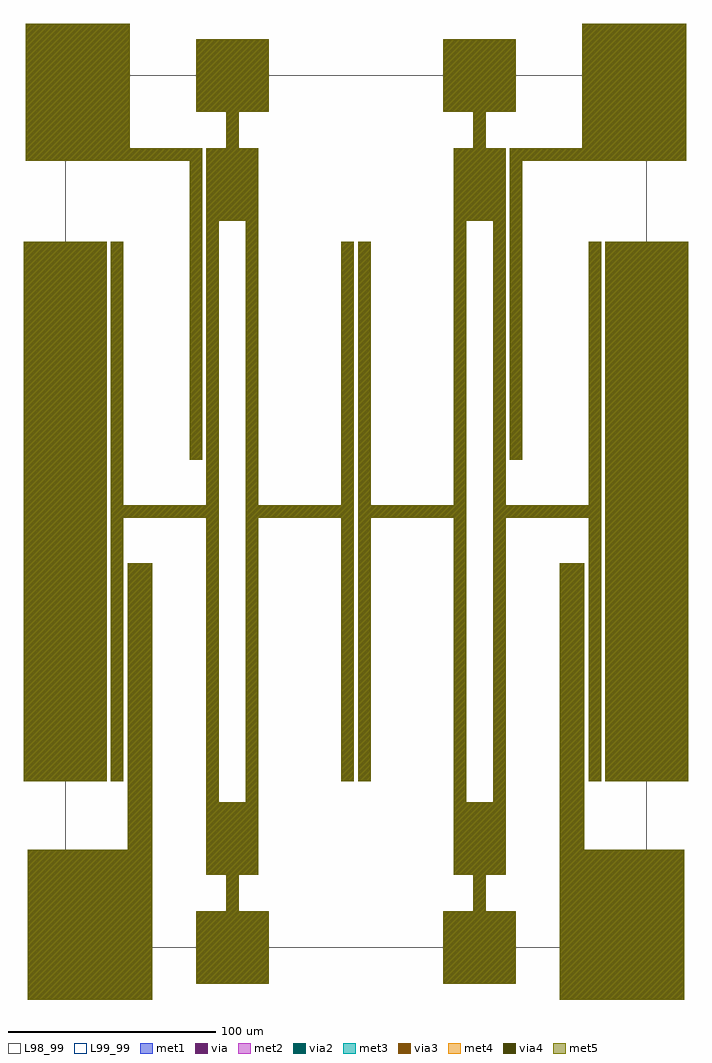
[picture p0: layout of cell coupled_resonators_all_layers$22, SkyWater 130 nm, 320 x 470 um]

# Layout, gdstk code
from math import pi, radians
import gdstk
lib = gdstk.Library(unit=1e-6, precision=1e-09)
def R(c, l, rs):  # rectangles x0, y0, x1, y1
    for r in rs: c.add(gdstk.rectangle(r[:2], r[2:], *l))
def P(c, l, *ps):  # polygons
    for p in ps: c.add(gdstk.Polygon(p, *l))
met1 = (68, 20)
via = (68, 44)
met2 = (69, 20)
via2 = (69, 44)
met3 = (70, 20)
via3 = (70, 44)
met4 = (71, 20)
via4 = (71, 44)
met5 = (72, 20)
L98_99 = (98, 99)
L99_99 = (99, 99)

detf_193 = lib.new_cell('detf$193')
P(detf_193, met1, [(12.5,175),(-12.5,175),(-12.5,-169),(-6.5,-169),(-6.5,169),(6.5,169),(6.5,-169),(-6.5,-169),(-12.5,-169),(-12.5,-175),(12.5,-175)],
  [(-12.5,-175),(12.5,-175),(12.5,-140),(-12.5,-140),(-12.5,-175)],
  [(-12.5,175),(12.5,175),(12.5,140),(-12.5,140),(-12.5,175)],
  [(-3,-175),(3,-175),(3,-192.5),(-3,-192.5),(-3,-175)],
  [(-3,175),(3,175),(3,192.5),(-3,192.5),(-3,175)],
  [(-17.5,-192.5),(17.5,-192.5),(17.5,-227.5),(-17.5,-227.5),(-17.5,-192.5)],
  [(-17.5,192.5),(17.5,192.5),(17.5,227.5),(-17.5,227.5),(-17.5,192.5)],
  [(-12.5,-3),(-12.5,3),(-52.5,3),(-52.5,-3),(-12.5,-3)],
  [(12.5,-3),(12.5,3),(52.5,3),(52.5,-3),(12.5,-3)],
  [(-52.5,-130),(-52.5,130),(-58.5,130),(-58.5,-130),(-52.5,-130)],
  [(52.5,-130),(52.5,130),(58.5,130),(58.5,-130),(52.5,-130)])

drive_electrode_286 = lib.new_cell('drive_electrode$286')
P(drive_electrode_286, met1, [(-20,-130),(-20,130),(20,130),(20,-130),(-20,-130)])

inner_electrode_479 = lib.new_cell('inner_electrode$479')
P(inner_electrode_479, met1, [(0,0),(6,0),(6,150),(0,150),(0,0)],
  [(0,150),(85,150),(85,144),(0,144),(0,150)],
  [(85,150),(35,150),(35,210),(85,210),(85,150)])

none_mirror_deaf291f = lib.new_cell('None_mirror_deaf291f')
none_mirror_deaf291f.add(gdstk.Reference(inner_electrode_479, (0,0), rotation=pi, x_reflection=True))

inner_electrode_478 = lib.new_cell('inner_electrode$478')
P(inner_electrode_478, met1, [(0,0),(12,0),(12,150),(0,150),(0,0)],
  [(0,150),(60,150),(60,138),(0,138),(0,150)],
  [(60,150),(0,150),(0,210),(60,210),(60,150)])

two_way_coupled_resonato = lib.new_cell('two_way_coupled_resonator$294')
two_way_coupled_resonato.add(gdstk.Reference(detf_193, (-59.5,0)))
two_way_coupled_resonato.add(gdstk.Reference(detf_193, (59.5,0)))
two_way_coupled_resonato.add(gdstk.Reference(drive_electrode_286, (-140,0)))
two_way_coupled_resonato.add(gdstk.Reference(drive_electrode_286, (140,0)))
two_way_coupled_resonato.add(gdstk.Reference(inner_electrode_479, (74,25)))
two_way_coupled_resonato.add(gdstk.Reference(none_mirror_deaf291f, (-74,25)))
two_way_coupled_resonato.add(gdstk.Reference(inner_electrode_478, (98,-25), x_reflection=True))
two_way_coupled_resonato.add(gdstk.Reference(inner_electrode_478, (-98,-25), rotation=pi))

detf_194 = lib.new_cell('detf$194')
P(detf_194, via, [(12.5,175),(-12.5,175),(-12.5,-169),(-6.5,-169),(-6.5,169),(6.5,169),(6.5,-169),(-6.5,-169),(-12.5,-169),(-12.5,-175),(12.5,-175)],
  [(-12.5,-175),(12.5,-175),(12.5,-140),(-12.5,-140),(-12.5,-175)],
  [(-12.5,175),(12.5,175),(12.5,140),(-12.5,140),(-12.5,175)],
  [(-3,-175),(3,-175),(3,-192.5),(-3,-192.5),(-3,-175)],
  [(-3,175),(3,175),(3,192.5),(-3,192.5),(-3,175)],
  [(-17.5,-192.5),(17.5,-192.5),(17.5,-227.5),(-17.5,-227.5),(-17.5,-192.5)],
  [(-17.5,192.5),(17.5,192.5),(17.5,227.5),(-17.5,227.5),(-17.5,192.5)],
  [(-12.5,-3),(-12.5,3),(-52.5,3),(-52.5,-3),(-12.5,-3)],
  [(12.5,-3),(12.5,3),(52.5,3),(52.5,-3),(12.5,-3)],
  [(-52.5,-130),(-52.5,130),(-58.5,130),(-58.5,-130),(-52.5,-130)],
  [(52.5,-130),(52.5,130),(58.5,130),(58.5,-130),(52.5,-130)])

drive_electrode_287 = lib.new_cell('drive_electrode$287')
P(drive_electrode_287, via, [(-20,-130),(-20,130),(20,130),(20,-130),(-20,-130)])

inner_electrode_481 = lib.new_cell('inner_electrode$481')
P(inner_electrode_481, via, [(0,0),(6,0),(6,150),(0,150),(0,0)],
  [(0,150),(85,150),(85,144),(0,144),(0,150)],
  [(85,150),(35,150),(35,210),(85,210),(85,150)])

none_mirror_8a6fded3 = lib.new_cell('None_mirror_8a6fded3')
none_mirror_8a6fded3.add(gdstk.Reference(inner_electrode_481, (0,0), rotation=pi, x_reflection=True))

inner_electrode_480 = lib.new_cell('inner_electrode$480')
P(inner_electrode_480, via, [(0,0),(12,0),(12,150),(0,150),(0,0)],
  [(0,150),(60,150),(60,138),(0,138),(0,150)],
  [(60,150),(0,150),(0,210),(60,210),(60,150)])

c_two_way_coupled_resonato = lib.new_cell('two_way_coupled_resonator$295')
c_two_way_coupled_resonato.add(gdstk.Reference(detf_194, (-59.5,0)))
c_two_way_coupled_resonato.add(gdstk.Reference(detf_194, (59.5,0)))
c_two_way_coupled_resonato.add(gdstk.Reference(drive_electrode_287, (-140,0)))
c_two_way_coupled_resonato.add(gdstk.Reference(drive_electrode_287, (140,0)))
c_two_way_coupled_resonato.add(gdstk.Reference(inner_electrode_481, (74,25)))
c_two_way_coupled_resonato.add(gdstk.Reference(none_mirror_8a6fded3, (-74,25)))
c_two_way_coupled_resonato.add(gdstk.Reference(inner_electrode_480, (98,-25), x_reflection=True))
c_two_way_coupled_resonato.add(gdstk.Reference(inner_electrode_480, (-98,-25), rotation=pi))

detf_195 = lib.new_cell('detf$195')
P(detf_195, met2, [(12.5,175),(-12.5,175),(-12.5,-169),(-6.5,-169),(-6.5,169),(6.5,169),(6.5,-169),(-6.5,-169),(-12.5,-169),(-12.5,-175),(12.5,-175)],
  [(-12.5,-175),(12.5,-175),(12.5,-140),(-12.5,-140),(-12.5,-175)],
  [(-12.5,175),(12.5,175),(12.5,140),(-12.5,140),(-12.5,175)],
  [(-3,-175),(3,-175),(3,-192.5),(-3,-192.5),(-3,-175)],
  [(-3,175),(3,175),(3,192.5),(-3,192.5),(-3,175)],
  [(-17.5,-192.5),(17.5,-192.5),(17.5,-227.5),(-17.5,-227.5),(-17.5,-192.5)],
  [(-17.5,192.5),(17.5,192.5),(17.5,227.5),(-17.5,227.5),(-17.5,192.5)],
  [(-12.5,-3),(-12.5,3),(-52.5,3),(-52.5,-3),(-12.5,-3)],
  [(12.5,-3),(12.5,3),(52.5,3),(52.5,-3),(12.5,-3)],
  [(-52.5,-130),(-52.5,130),(-58.5,130),(-58.5,-130),(-52.5,-130)],
  [(52.5,-130),(52.5,130),(58.5,130),(58.5,-130),(52.5,-130)])

drive_electrode_288 = lib.new_cell('drive_electrode$288')
P(drive_electrode_288, met2, [(-20,-130),(-20,130),(20,130),(20,-130),(-20,-130)])

inner_electrode_483 = lib.new_cell('inner_electrode$483')
P(inner_electrode_483, met2, [(0,0),(6,0),(6,150),(0,150),(0,0)],
  [(0,150),(85,150),(85,144),(0,144),(0,150)],
  [(85,150),(35,150),(35,210),(85,210),(85,150)])

none_mirror_c3d8c411 = lib.new_cell('None_mirror_c3d8c411')
none_mirror_c3d8c411.add(gdstk.Reference(inner_electrode_483, (0,0), rotation=pi, x_reflection=True))

inner_electrode_482 = lib.new_cell('inner_electrode$482')
P(inner_electrode_482, met2, [(0,0),(12,0),(12,150),(0,150),(0,0)],
  [(0,150),(60,150),(60,138),(0,138),(0,150)],
  [(60,150),(0,150),(0,210),(60,210),(60,150)])

c_two_way_coupled_resonato_ = lib.new_cell('two_way_coupled_resonator$296')
c_two_way_coupled_resonato_.add(gdstk.Reference(detf_195, (-59.5,0)))
c_two_way_coupled_resonato_.add(gdstk.Reference(detf_195, (59.5,0)))
c_two_way_coupled_resonato_.add(gdstk.Reference(drive_electrode_288, (-140,0)))
c_two_way_coupled_resonato_.add(gdstk.Reference(drive_electrode_288, (140,0)))
c_two_way_coupled_resonato_.add(gdstk.Reference(inner_electrode_483, (74,25)))
c_two_way_coupled_resonato_.add(gdstk.Reference(none_mirror_c3d8c411, (-74,25)))
c_two_way_coupled_resonato_.add(gdstk.Reference(inner_electrode_482, (98,-25), x_reflection=True))
c_two_way_coupled_resonato_.add(gdstk.Reference(inner_electrode_482, (-98,-25), rotation=pi))

detf_196 = lib.new_cell('detf$196')
P(detf_196, via2, [(12.5,175),(-12.5,175),(-12.5,-169),(-6.5,-169),(-6.5,169),(6.5,169),(6.5,-169),(-6.5,-169),(-12.5,-169),(-12.5,-175),(12.5,-175)],
  [(-12.5,-175),(12.5,-175),(12.5,-140),(-12.5,-140),(-12.5,-175)],
  [(-12.5,175),(12.5,175),(12.5,140),(-12.5,140),(-12.5,175)],
  [(-3,-175),(3,-175),(3,-192.5),(-3,-192.5),(-3,-175)],
  [(-3,175),(3,175),(3,192.5),(-3,192.5),(-3,175)],
  [(-17.5,-192.5),(17.5,-192.5),(17.5,-227.5),(-17.5,-227.5),(-17.5,-192.5)],
  [(-17.5,192.5),(17.5,192.5),(17.5,227.5),(-17.5,227.5),(-17.5,192.5)],
  [(-12.5,-3),(-12.5,3),(-52.5,3),(-52.5,-3),(-12.5,-3)],
  [(12.5,-3),(12.5,3),(52.5,3),(52.5,-3),(12.5,-3)],
  [(-52.5,-130),(-52.5,130),(-58.5,130),(-58.5,-130),(-52.5,-130)],
  [(52.5,-130),(52.5,130),(58.5,130),(58.5,-130),(52.5,-130)])

drive_electrode_289 = lib.new_cell('drive_electrode$289')
P(drive_electrode_289, via2, [(-20,-130),(-20,130),(20,130),(20,-130),(-20,-130)])

inner_electrode_485 = lib.new_cell('inner_electrode$485')
P(inner_electrode_485, via2, [(0,0),(6,0),(6,150),(0,150),(0,0)],
  [(0,150),(85,150),(85,144),(0,144),(0,150)],
  [(85,150),(35,150),(35,210),(85,210),(85,150)])

none_mirror_177a07fa = lib.new_cell('None_mirror_177a07fa')
none_mirror_177a07fa.add(gdstk.Reference(inner_electrode_485, (0,0), rotation=pi, x_reflection=True))

inner_electrode_484 = lib.new_cell('inner_electrode$484')
P(inner_electrode_484, via2, [(0,0),(12,0),(12,150),(0,150),(0,0)],
  [(0,150),(60,150),(60,138),(0,138),(0,150)],
  [(60,150),(0,150),(0,210),(60,210),(60,150)])

c_two_way_coupled_resonato__ = lib.new_cell('two_way_coupled_resonator$297')
c_two_way_coupled_resonato__.add(gdstk.Reference(detf_196, (-59.5,0)))
c_two_way_coupled_resonato__.add(gdstk.Reference(detf_196, (59.5,0)))
c_two_way_coupled_resonato__.add(gdstk.Reference(drive_electrode_289, (-140,0)))
c_two_way_coupled_resonato__.add(gdstk.Reference(drive_electrode_289, (140,0)))
c_two_way_coupled_resonato__.add(gdstk.Reference(inner_electrode_485, (74,25)))
c_two_way_coupled_resonato__.add(gdstk.Reference(none_mirror_177a07fa, (-74,25)))
c_two_way_coupled_resonato__.add(gdstk.Reference(inner_electrode_484, (98,-25), x_reflection=True))
c_two_way_coupled_resonato__.add(gdstk.Reference(inner_electrode_484, (-98,-25), rotation=pi))

detf_197 = lib.new_cell('detf$197')
P(detf_197, met3, [(12.5,175),(-12.5,175),(-12.5,-169),(-6.5,-169),(-6.5,169),(6.5,169),(6.5,-169),(-6.5,-169),(-12.5,-169),(-12.5,-175),(12.5,-175)],
  [(-12.5,-175),(12.5,-175),(12.5,-140),(-12.5,-140),(-12.5,-175)],
  [(-12.5,175),(12.5,175),(12.5,140),(-12.5,140),(-12.5,175)],
  [(-3,-175),(3,-175),(3,-192.5),(-3,-192.5),(-3,-175)],
  [(-3,175),(3,175),(3,192.5),(-3,192.5),(-3,175)],
  [(-17.5,-192.5),(17.5,-192.5),(17.5,-227.5),(-17.5,-227.5),(-17.5,-192.5)],
  [(-17.5,192.5),(17.5,192.5),(17.5,227.5),(-17.5,227.5),(-17.5,192.5)],
  [(-12.5,-3),(-12.5,3),(-52.5,3),(-52.5,-3),(-12.5,-3)],
  [(12.5,-3),(12.5,3),(52.5,3),(52.5,-3),(12.5,-3)],
  [(-52.5,-130),(-52.5,130),(-58.5,130),(-58.5,-130),(-52.5,-130)],
  [(52.5,-130),(52.5,130),(58.5,130),(58.5,-130),(52.5,-130)])

drive_electrode_290 = lib.new_cell('drive_electrode$290')
P(drive_electrode_290, met3, [(-20,-130),(-20,130),(20,130),(20,-130),(-20,-130)])

inner_electrode_487 = lib.new_cell('inner_electrode$487')
P(inner_electrode_487, met3, [(0,0),(6,0),(6,150),(0,150),(0,0)],
  [(0,150),(85,150),(85,144),(0,144),(0,150)],
  [(85,150),(35,150),(35,210),(85,210),(85,150)])

none_mirror_1234989d = lib.new_cell('None_mirror_1234989d')
none_mirror_1234989d.add(gdstk.Reference(inner_electrode_487, (0,0), rotation=pi, x_reflection=True))

inner_electrode_486 = lib.new_cell('inner_electrode$486')
P(inner_electrode_486, met3, [(0,0),(12,0),(12,150),(0,150),(0,0)],
  [(0,150),(60,150),(60,138),(0,138),(0,150)],
  [(60,150),(0,150),(0,210),(60,210),(60,150)])

c_two_way_coupled_resonato___ = lib.new_cell('two_way_coupled_resonator$298')
c_two_way_coupled_resonato___.add(gdstk.Reference(detf_197, (-59.5,0)))
c_two_way_coupled_resonato___.add(gdstk.Reference(detf_197, (59.5,0)))
c_two_way_coupled_resonato___.add(gdstk.Reference(drive_electrode_290, (-140,0)))
c_two_way_coupled_resonato___.add(gdstk.Reference(drive_electrode_290, (140,0)))
c_two_way_coupled_resonato___.add(gdstk.Reference(inner_electrode_487, (74,25)))
c_two_way_coupled_resonato___.add(gdstk.Reference(none_mirror_1234989d, (-74,25)))
c_two_way_coupled_resonato___.add(gdstk.Reference(inner_electrode_486, (98,-25), x_reflection=True))
c_two_way_coupled_resonato___.add(gdstk.Reference(inner_electrode_486, (-98,-25), rotation=pi))

detf_198 = lib.new_cell('detf$198')
P(detf_198, via3, [(12.5,175),(-12.5,175),(-12.5,-169),(-6.5,-169),(-6.5,169),(6.5,169),(6.5,-169),(-6.5,-169),(-12.5,-169),(-12.5,-175),(12.5,-175)],
  [(-12.5,-175),(12.5,-175),(12.5,-140),(-12.5,-140),(-12.5,-175)],
  [(-12.5,175),(12.5,175),(12.5,140),(-12.5,140),(-12.5,175)],
  [(-3,-175),(3,-175),(3,-192.5),(-3,-192.5),(-3,-175)],
  [(-3,175),(3,175),(3,192.5),(-3,192.5),(-3,175)],
  [(-17.5,-192.5),(17.5,-192.5),(17.5,-227.5),(-17.5,-227.5),(-17.5,-192.5)],
  [(-17.5,192.5),(17.5,192.5),(17.5,227.5),(-17.5,227.5),(-17.5,192.5)],
  [(-12.5,-3),(-12.5,3),(-52.5,3),(-52.5,-3),(-12.5,-3)],
  [(12.5,-3),(12.5,3),(52.5,3),(52.5,-3),(12.5,-3)],
  [(-52.5,-130),(-52.5,130),(-58.5,130),(-58.5,-130),(-52.5,-130)],
  [(52.5,-130),(52.5,130),(58.5,130),(58.5,-130),(52.5,-130)])

drive_electrode_291 = lib.new_cell('drive_electrode$291')
P(drive_electrode_291, via3, [(-20,-130),(-20,130),(20,130),(20,-130),(-20,-130)])

inner_electrode_489 = lib.new_cell('inner_electrode$489')
P(inner_electrode_489, via3, [(0,0),(6,0),(6,150),(0,150),(0,0)],
  [(0,150),(85,150),(85,144),(0,144),(0,150)],
  [(85,150),(35,150),(35,210),(85,210),(85,150)])

none_mirror_bda8844a = lib.new_cell('None_mirror_bda8844a')
none_mirror_bda8844a.add(gdstk.Reference(inner_electrode_489, (0,0), rotation=pi, x_reflection=True))

inner_electrode_488 = lib.new_cell('inner_electrode$488')
P(inner_electrode_488, via3, [(0,0),(12,0),(12,150),(0,150),(0,0)],
  [(0,150),(60,150),(60,138),(0,138),(0,150)],
  [(60,150),(0,150),(0,210),(60,210),(60,150)])

c_two_way_coupled_resonato____ = lib.new_cell('two_way_coupled_resonator$299')
c_two_way_coupled_resonato____.add(gdstk.Reference(detf_198, (-59.5,0)))
c_two_way_coupled_resonato____.add(gdstk.Reference(detf_198, (59.5,0)))
c_two_way_coupled_resonato____.add(gdstk.Reference(drive_electrode_291, (-140,0)))
c_two_way_coupled_resonato____.add(gdstk.Reference(drive_electrode_291, (140,0)))
c_two_way_coupled_resonato____.add(gdstk.Reference(inner_electrode_489, (74,25)))
c_two_way_coupled_resonato____.add(gdstk.Reference(none_mirror_bda8844a, (-74,25)))
c_two_way_coupled_resonato____.add(gdstk.Reference(inner_electrode_488, (98,-25), x_reflection=True))
c_two_way_coupled_resonato____.add(gdstk.Reference(inner_electrode_488, (-98,-25), rotation=pi))

detf_199 = lib.new_cell('detf$199')
P(detf_199, met4, [(12.5,175),(-12.5,175),(-12.5,-169),(-6.5,-169),(-6.5,169),(6.5,169),(6.5,-169),(-6.5,-169),(-12.5,-169),(-12.5,-175),(12.5,-175)],
  [(-12.5,-175),(12.5,-175),(12.5,-140),(-12.5,-140),(-12.5,-175)],
  [(-12.5,175),(12.5,175),(12.5,140),(-12.5,140),(-12.5,175)],
  [(-3,-175),(3,-175),(3,-192.5),(-3,-192.5),(-3,-175)],
  [(-3,175),(3,175),(3,192.5),(-3,192.5),(-3,175)],
  [(-17.5,-192.5),(17.5,-192.5),(17.5,-227.5),(-17.5,-227.5),(-17.5,-192.5)],
  [(-17.5,192.5),(17.5,192.5),(17.5,227.5),(-17.5,227.5),(-17.5,192.5)],
  [(-12.5,-3),(-12.5,3),(-52.5,3),(-52.5,-3),(-12.5,-3)],
  [(12.5,-3),(12.5,3),(52.5,3),(52.5,-3),(12.5,-3)],
  [(-52.5,-130),(-52.5,130),(-58.5,130),(-58.5,-130),(-52.5,-130)],
  [(52.5,-130),(52.5,130),(58.5,130),(58.5,-130),(52.5,-130)])

drive_electrode_292 = lib.new_cell('drive_electrode$292')
P(drive_electrode_292, met4, [(-20,-130),(-20,130),(20,130),(20,-130),(-20,-130)])

inner_electrode_491 = lib.new_cell('inner_electrode$491')
P(inner_electrode_491, met4, [(0,0),(6,0),(6,150),(0,150),(0,0)],
  [(0,150),(85,150),(85,144),(0,144),(0,150)],
  [(85,150),(35,150),(35,210),(85,210),(85,150)])

none_mirror_34891094 = lib.new_cell('None_mirror_34891094')
none_mirror_34891094.add(gdstk.Reference(inner_electrode_491, (0,0), rotation=pi, x_reflection=True))

inner_electrode_490 = lib.new_cell('inner_electrode$490')
P(inner_electrode_490, met4, [(0,0),(12,0),(12,150),(0,150),(0,0)],
  [(0,150),(60,150),(60,138),(0,138),(0,150)],
  [(60,150),(0,150),(0,210),(60,210),(60,150)])

c_two_way_coupled_resonato_____ = lib.new_cell('two_way_coupled_resonator$300')
c_two_way_coupled_resonato_____.add(gdstk.Reference(detf_199, (-59.5,0)))
c_two_way_coupled_resonato_____.add(gdstk.Reference(detf_199, (59.5,0)))
c_two_way_coupled_resonato_____.add(gdstk.Reference(drive_electrode_292, (-140,0)))
c_two_way_coupled_resonato_____.add(gdstk.Reference(drive_electrode_292, (140,0)))
c_two_way_coupled_resonato_____.add(gdstk.Reference(inner_electrode_491, (74,25)))
c_two_way_coupled_resonato_____.add(gdstk.Reference(none_mirror_34891094, (-74,25)))
c_two_way_coupled_resonato_____.add(gdstk.Reference(inner_electrode_490, (98,-25), x_reflection=True))
c_two_way_coupled_resonato_____.add(gdstk.Reference(inner_electrode_490, (-98,-25), rotation=pi))

detf_200 = lib.new_cell('detf$200')
P(detf_200, via4, [(12.5,175),(-12.5,175),(-12.5,-169),(-6.5,-169),(-6.5,169),(6.5,169),(6.5,-169),(-6.5,-169),(-12.5,-169),(-12.5,-175),(12.5,-175)],
  [(-12.5,-175),(12.5,-175),(12.5,-140),(-12.5,-140),(-12.5,-175)],
  [(-12.5,175),(12.5,175),(12.5,140),(-12.5,140),(-12.5,175)],
  [(-3,-175),(3,-175),(3,-192.5),(-3,-192.5),(-3,-175)],
  [(-3,175),(3,175),(3,192.5),(-3,192.5),(-3,175)],
  [(-17.5,-192.5),(17.5,-192.5),(17.5,-227.5),(-17.5,-227.5),(-17.5,-192.5)],
  [(-17.5,192.5),(17.5,192.5),(17.5,227.5),(-17.5,227.5),(-17.5,192.5)],
  [(-12.5,-3),(-12.5,3),(-52.5,3),(-52.5,-3),(-12.5,-3)],
  [(12.5,-3),(12.5,3),(52.5,3),(52.5,-3),(12.5,-3)],
  [(-52.5,-130),(-52.5,130),(-58.5,130),(-58.5,-130),(-52.5,-130)],
  [(52.5,-130),(52.5,130),(58.5,130),(58.5,-130),(52.5,-130)])

drive_electrode_293 = lib.new_cell('drive_electrode$293')
P(drive_electrode_293, via4, [(-20,-130),(-20,130),(20,130),(20,-130),(-20,-130)])

inner_electrode_493 = lib.new_cell('inner_electrode$493')
P(inner_electrode_493, via4, [(0,0),(6,0),(6,150),(0,150),(0,0)],
  [(0,150),(85,150),(85,144),(0,144),(0,150)],
  [(85,150),(35,150),(35,210),(85,210),(85,150)])

none_mirror_e472e28b = lib.new_cell('None_mirror_e472e28b')
none_mirror_e472e28b.add(gdstk.Reference(inner_electrode_493, (0,0), rotation=pi, x_reflection=True))

inner_electrode_492 = lib.new_cell('inner_electrode$492')
P(inner_electrode_492, via4, [(0,0),(12,0),(12,150),(0,150),(0,0)],
  [(0,150),(60,150),(60,138),(0,138),(0,150)],
  [(60,150),(0,150),(0,210),(60,210),(60,150)])

c_two_way_coupled_resonato______ = lib.new_cell('two_way_coupled_resonator$301')
c_two_way_coupled_resonato______.add(gdstk.Reference(detf_200, (-59.5,0)))
c_two_way_coupled_resonato______.add(gdstk.Reference(detf_200, (59.5,0)))
c_two_way_coupled_resonato______.add(gdstk.Reference(drive_electrode_293, (-140,0)))
c_two_way_coupled_resonato______.add(gdstk.Reference(drive_electrode_293, (140,0)))
c_two_way_coupled_resonato______.add(gdstk.Reference(inner_electrode_493, (74,25)))
c_two_way_coupled_resonato______.add(gdstk.Reference(none_mirror_e472e28b, (-74,25)))
c_two_way_coupled_resonato______.add(gdstk.Reference(inner_electrode_492, (98,-25), x_reflection=True))
c_two_way_coupled_resonato______.add(gdstk.Reference(inner_electrode_492, (-98,-25), rotation=pi))

detf_201 = lib.new_cell('detf$201')
P(detf_201, met5, [(12.5,175),(-12.5,175),(-12.5,-169),(-6.5,-169),(-6.5,169),(6.5,169),(6.5,-169),(-6.5,-169),(-12.5,-169),(-12.5,-175),(12.5,-175)],
  [(-12.5,-175),(12.5,-175),(12.5,-140),(-12.5,-140),(-12.5,-175)],
  [(-12.5,175),(12.5,175),(12.5,140),(-12.5,140),(-12.5,175)],
  [(-3,-175),(3,-175),(3,-192.5),(-3,-192.5),(-3,-175)],
  [(-3,175),(3,175),(3,192.5),(-3,192.5),(-3,175)],
  [(-17.5,-192.5),(17.5,-192.5),(17.5,-227.5),(-17.5,-227.5),(-17.5,-192.5)],
  [(-17.5,192.5),(17.5,192.5),(17.5,227.5),(-17.5,227.5),(-17.5,192.5)],
  [(-12.5,-3),(-12.5,3),(-52.5,3),(-52.5,-3),(-12.5,-3)],
  [(12.5,-3),(12.5,3),(52.5,3),(52.5,-3),(12.5,-3)],
  [(-52.5,-130),(-52.5,130),(-58.5,130),(-58.5,-130),(-52.5,-130)],
  [(52.5,-130),(52.5,130),(58.5,130),(58.5,-130),(52.5,-130)])

drive_electrode_294 = lib.new_cell('drive_electrode$294')
P(drive_electrode_294, met5, [(-20,-130),(-20,130),(20,130),(20,-130),(-20,-130)])

inner_electrode_495 = lib.new_cell('inner_electrode$495')
P(inner_electrode_495, met5, [(0,0),(6,0),(6,150),(0,150),(0,0)],
  [(0,150),(85,150),(85,144),(0,144),(0,150)],
  [(85,150),(35,150),(35,210),(85,210),(85,150)])

none_mirror_bfc5eb1e = lib.new_cell('None_mirror_bfc5eb1e')
none_mirror_bfc5eb1e.add(gdstk.Reference(inner_electrode_495, (0,0), rotation=pi, x_reflection=True))

inner_electrode_494 = lib.new_cell('inner_electrode$494')
P(inner_electrode_494, met5, [(0,0),(12,0),(12,150),(0,150),(0,0)],
  [(0,150),(60,150),(60,138),(0,138),(0,150)],
  [(60,150),(0,150),(0,210),(60,210),(60,150)])

c_two_way_coupled_resonato_______ = lib.new_cell('two_way_coupled_resonator$302')
c_two_way_coupled_resonato_______.add(gdstk.Reference(detf_201, (-59.5,0)))
c_two_way_coupled_resonato_______.add(gdstk.Reference(detf_201, (59.5,0)))
c_two_way_coupled_resonato_______.add(gdstk.Reference(drive_electrode_294, (-140,0)))
c_two_way_coupled_resonato_______.add(gdstk.Reference(drive_electrode_294, (140,0)))
c_two_way_coupled_resonato_______.add(gdstk.Reference(inner_electrode_495, (74,25)))
c_two_way_coupled_resonato_______.add(gdstk.Reference(none_mirror_bfc5eb1e, (-74,25)))
c_two_way_coupled_resonato_______.add(gdstk.Reference(inner_electrode_494, (98,-25), x_reflection=True))
c_two_way_coupled_resonato_______.add(gdstk.Reference(inner_electrode_494, (-98,-25), rotation=pi))

compass_2262df99 = lib.new_cell('compass_2262df99')
R(compass_2262df99, L98_99, [(-140,-210,140,210)])

rectangle_2262df99 = lib.new_cell('rectangle_2262df99')
rectangle_2262df99.add(gdstk.Reference(compass_2262df99, (140,210)))

detf_202 = lib.new_cell('detf$202')
P(detf_202, L99_99, [(12.5,175),(-12.5,175),(-12.5,-169),(-6.5,-169),(-6.5,169),(6.5,169),(6.5,-169),(-6.5,-169),(-12.5,-169),(-12.5,-175),(12.5,-175)],
  [(-12.5,-175),(12.5,-175),(12.5,-140),(-12.5,-140),(-12.5,-175)],
  [(-12.5,175),(12.5,175),(12.5,140),(-12.5,140),(-12.5,175)],
  [(-3,-175),(3,-175),(3,-192.5),(-3,-192.5),(-3,-175)],
  [(-3,175),(3,175),(3,192.5),(-3,192.5),(-3,175)],
  [(-17.5,-192.5),(17.5,-192.5),(17.5,-227.5),(-17.5,-227.5),(-17.5,-192.5)],
  [(-17.5,192.5),(17.5,192.5),(17.5,227.5),(-17.5,227.5),(-17.5,192.5)],
  [(-12.5,-3),(-12.5,3),(-52.5,3),(-52.5,-3),(-12.5,-3)],
  [(12.5,-3),(12.5,3),(52.5,3),(52.5,-3),(12.5,-3)],
  [(-52.5,-130),(-52.5,130),(-58.5,130),(-58.5,-130),(-52.5,-130)],
  [(52.5,-130),(52.5,130),(58.5,130),(58.5,-130),(52.5,-130)])

coupled_resonators_all_l = lib.new_cell('coupled_resonators_all_layers$22')
coupled_resonators_all_l.add(gdstk.Reference(two_way_coupled_resonato, (0,0)))
coupled_resonators_all_l.add(gdstk.Reference(c_two_way_coupled_resonato, (0,0)))
coupled_resonators_all_l.add(gdstk.Reference(c_two_way_coupled_resonato_, (0,0)))
coupled_resonators_all_l.add(gdstk.Reference(c_two_way_coupled_resonato__, (0,0)))
coupled_resonators_all_l.add(gdstk.Reference(c_two_way_coupled_resonato___, (0,0)))
coupled_resonators_all_l.add(gdstk.Reference(c_two_way_coupled_resonato____, (0,0)))
coupled_resonators_all_l.add(gdstk.Reference(c_two_way_coupled_resonato_____, (0,0)))
coupled_resonators_all_l.add(gdstk.Reference(c_two_way_coupled_resonato______, (0,0)))
coupled_resonators_all_l.add(gdstk.Reference(c_two_way_coupled_resonato_______, (0,0)))
coupled_resonators_all_l.add(gdstk.Reference(rectangle_2262df99, (-140,-210)))
coupled_resonators_all_l.add(gdstk.Reference(detf_202, (59.5,0)))

lib.write_gds('coupled_resonators_all_layers_22.gds')
